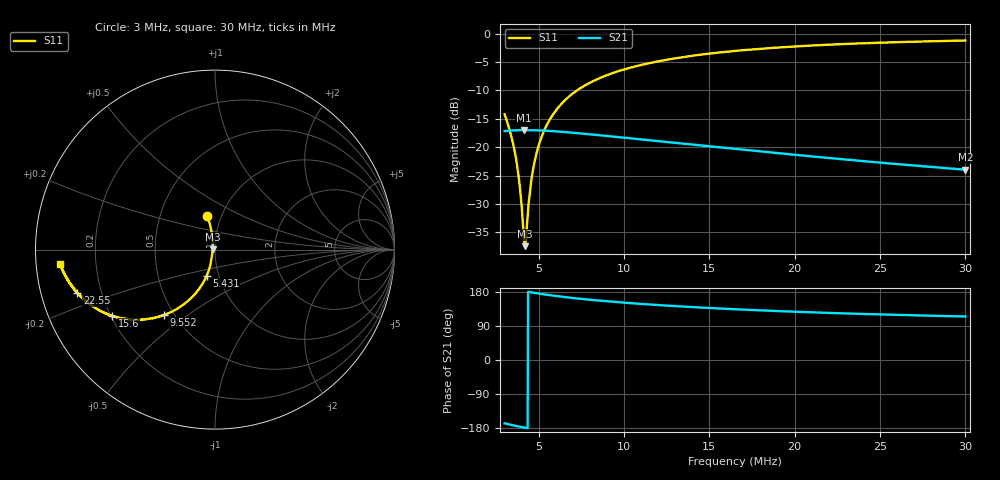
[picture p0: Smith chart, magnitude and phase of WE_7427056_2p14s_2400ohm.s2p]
# HZ S RI R 50
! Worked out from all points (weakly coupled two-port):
!   1023 points, 3 MHz to 30 MHz, reference 50 ohm
!   highest |S21| = -16.99 dB at 4.136 MHz (marker M1); lowest = -24.0 dB at 30 MHz (marker M2)
!   lowest |S11| = -37.4 dB at 4.189 MHz (marker M3), VSWR 1.03, Z = 48.7 + j0.0967 ohm
!   |S11| at or under -10 dB: start of sweep to 7.248 MHz
!   S12 and S22 are empty: the file has one direction only
!   S11 on the Smith chart (normalised r, x): 3 MHz: 0.85, +0.34; 5.431 MHz: 0.88, -0.26; 9.552 MHz: 0.44, -0.41; 15.6 MHz: 0.21, -0.28; 22.55 MHz: 0.11, -0.15; 30 MHz: 0.07, -0.04
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3000000  -0.0452 0.1895  -0.1349 -0.0307  0 0  0 0
3343447  -0.0255 0.1304  -0.1382 -0.0222  0 0  0 0
3660475  -0.016 0.0787  -0.14 -0.0148  0 0  0 0
3871827  -0.0131 0.0458  -0.1406 -0.0102  0 0  0 0
4083179  -0.0128 0.0154  -0.1413 -0.00575  0 0  0 0
4136017  -0.0128 0.00816  -0.1414 -0.00457  0 0  0 0
4188855  -0.0134 0.000993  -0.1412 -0.00358  0 0  0 0
4268112  -0.0141 -0.00995  -0.1414 -0.00188  0 0  0 0
4505883  -0.0177 -0.0403  -0.1411 0.00273  0 0  0 0
4717235  -0.0221 -0.0665  -0.1409 0.00655  0 0  0 0
5034263  -0.0313 -0.1034  -0.14 0.0121  0 0  0 0
5430548  -0.0466 -0.1447  -0.1382 0.0185  0 0  0 0
6302375  -0.0908 -0.2201  -0.1333 0.0302  0 0  0 0
7517649  -0.1612 -0.2949  -0.1247 0.0427  0 0  0 0
9551912  -0.2824 -0.3642  -0.1098 0.0561  0 0  0 0
1.200888e7  -0.4135 -0.3904  -0.0926 0.0648  0 0  0 0
1.560186e7  -0.5719 -0.3703  -0.0718 0.0694  0 0  0 0
1.650011e7  -0.6047 -0.3574  -0.0671 0.0697  0 0  0 0
2.101776e7  -0.735 -0.2743  -0.0485 0.0673  0 0  0 0
2.255006e7  -0.7665 -0.2405  -0.0436 0.066  0 0  0 0
2.550899e7  -0.8162 -0.1753  -0.0357 0.0626  0 0  0 0
3.000022e7  -0.8644 -0.0776  -0.0267 0.0573  0 0  0 0
